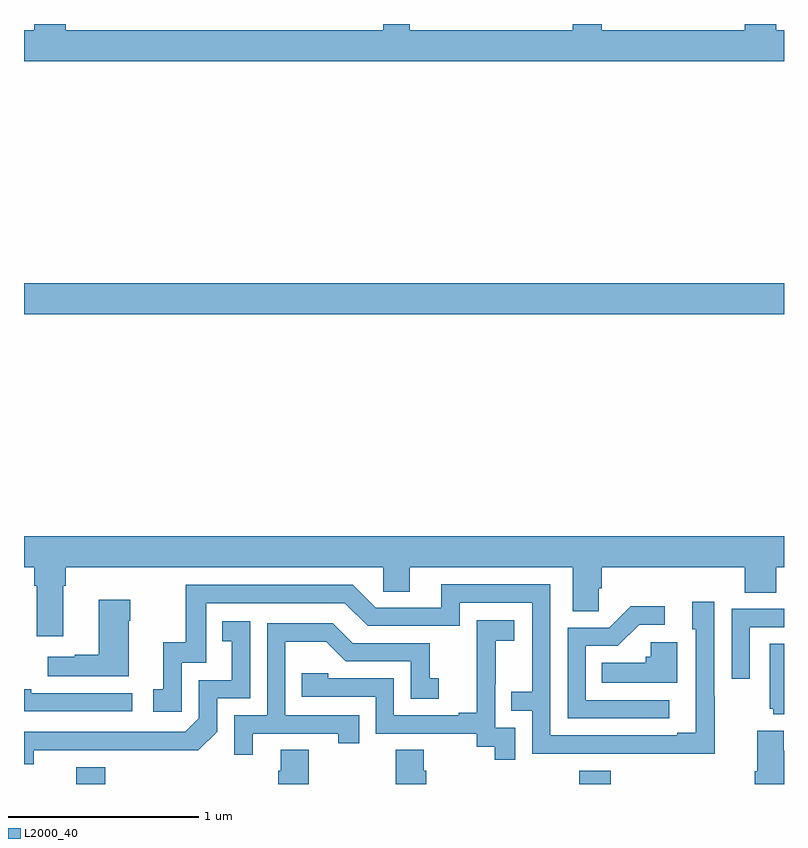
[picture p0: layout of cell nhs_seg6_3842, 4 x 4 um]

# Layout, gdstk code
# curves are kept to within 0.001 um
import gdstk
lib = gdstk.Library(unit=1e-6, precision=1e-09)
def R(c, l, rs):  # rectangles x0, y0, x1, y1
    for r in rs: c.add(gdstk.rectangle(r[:2], r[2:], *l))
def P(c, l, *ps):  # polygons
    for p in ps: c.add(gdstk.Polygon(p, *l))
L2000_40 = (2000, 40)

nhs_seg6_3842 = lib.new_cell('nhs_seg6_3842')
R(nhs_seg6_3842, L2000_40, [(337.274,975.5,337.427,975.589), (339.923,975.5,340.088,975.571), (337,977.972,341,978.136)])
P(nhs_seg6_3842, L2000_40, [(341,979.468),(340.958,979.468),(340.958,979.5),(340.793,979.5),(340.793,979.468),(340.04,979.468),(340.04,979.5),(339.887,979.5),(339.887,979.468),(339.031,979.468),(339.031,979.5),(338.892,979.5),(338.892,979.468),(337.22,979.468),(337.22,979.5),(337.055,979.5),(337.055,979.468),(337,979.468),(337,979.304),(341,979.304)],
  [(337.207,976.544),(337.22,976.544),(337.22,976.64),(338.892,976.64),(338.892,976.513),(339.031,976.513),(339.031,976.64),(339.887,976.64),(339.887,976.408),(340.026,976.408),(340.026,976.531),(340.04,976.531),(340.04,976.64),(340.793,976.64),(340.793,976.507),(340.958,976.507),(340.958,976.64),(341,976.64),(341,976.804),(337,976.804),(337,976.64),(337.055,976.64),(337.055,976.544),(337.067,976.544),(337.067,976.278),(337.207,976.278)],
  [(340.635,975.965),(340.632,975.965),(340.632,976.459),(340.517,976.459),(340.517,976.314),(340.536,976.314),(340.536,975.769),(340.439,975.769),(340.439,975.756),(339.771,975.756),(339.771,976.551),(339.197,976.551),(339.197,976.428),(338.85,976.428),(338.73,976.548),(337.851,976.548),(337.851,976.246),(337.733,976.246),(337.733,975.999),(337.68,975.999),(337.68,975.879),(337.83,975.879),(337.83,976.137),(337.959,976.137),(337.959,976.452),(338.688,976.452),(338.808,976.332),(339.294,976.332),(339.294,976.455),(339.675,976.455),(339.675,975.986),(339.565,975.986),(339.565,975.885),(339.675,975.885),(339.675,975.66),(340.635,975.659)],
  [(337.552,976.358),(337.56,976.358),(337.56,976.471),(337.394,976.471),(337.394,976.181),(337.268,976.181),(337.268,976.171),(337.125,976.171),(337.125,976.067),(337.552,976.067)],
  [(340.396,975.942),(339.957,975.942),(339.957,976.227),(340.126,976.227),(340.237,976.338),(340.372,976.338),(340.372,976.436),(340.193,976.436),(340.08,976.323),(339.861,976.323),(339.861,975.846),(340.396,975.846)],
  [(340.821,976.326),(341,976.326),(341,976.422),(340.725,976.422),(340.725,976.053),(340.821,976.053)],
  [(339.585,975.795),(339.48,975.795),(339.48,976.025),(339.482,976.025),(339.482,976.253),(339.58,976.253),(339.58,976.363),(339.382,976.363),(339.382,976.157),(339.383,976.157),(339.383,975.874),(339.287,975.874),(339.287,975.861),(338.946,975.861),(338.946,976.056),(338.601,976.056),(338.601,976.083),(338.461,976.083),(338.461,975.96),(338.85,975.96),(338.85,975.765),(339.384,975.765),(339.384,975.697),(339.477,975.697),(339.477,975.627),(339.585,975.627)],
  [(337.05,975.678),(337.918,975.677),(338.016,975.774),(338.016,975.951),(338.19,975.951),(338.19,976.357),(338.044,976.357),(338.044,976.251),(338.093,976.251),(338.093,976.047),(337.92,976.047),(337.92,975.846),(337.848,975.774),(337,975.774),(337,975.605),(337.05,975.605)],
  [(338.203,975.765),(338.654,975.765),(338.654,975.714),(338.765,975.714),(338.765,975.861),(338.376,975.861),(338.376,976.25),(338.59,976.25),(338.694,976.146),(339.036,976.146),(339.036,975.948),(339.184,975.948),(339.184,976.057),(339.135,976.057),(339.135,976.242),(338.731,976.242),(338.626,976.347),(338.28,976.347),(338.28,975.861),(338.106,975.861),(338.106,975.654),(338.203,975.654)],
  [(340.438,976.246),(340.299,976.246),(340.299,976.17),(340.273,976.17),(340.273,976.138),(340.042,976.138),(340.042,976.034),(340.438,976.034)],
  [(341,976.237),(340.925,976.237),(340.925,975.897),(340.943,975.897),(340.943,975.866),(341,975.866)],
  [(337.57,975.978),(337.037,975.978),(337.037,975.998),(337,975.998),(337,975.882),(337.57,975.882)],
  [(341,975.674),(340.999,975.674),(340.999,975.781),(340.859,975.781),(340.859,975.568),(340.847,975.568),(340.847,975.5),(341,975.5)],
  [(339.116,975.57),(339.103,975.57),(339.103,975.68),(338.956,975.68),(338.956,975.5),(339.116,975.5)],
  [(338.499,975.68),(338.351,975.68),(338.351,975.57),(338.339,975.57),(338.339,975.5),(338.499,975.5)])

lib.write_gds('nhs_seg6_3842.gds')
